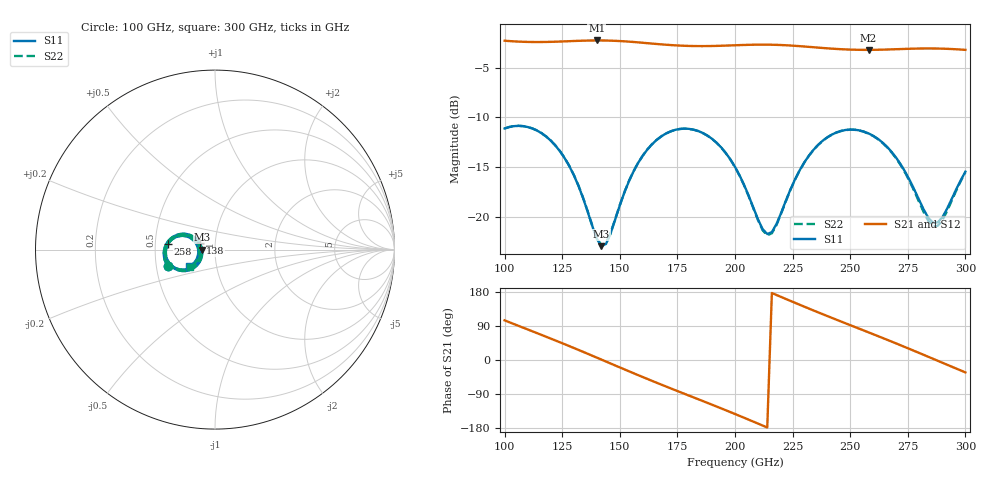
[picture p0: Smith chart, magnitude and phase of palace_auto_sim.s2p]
#  GHZ S DB R 50
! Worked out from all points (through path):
!   101 points, 100 GHz to 300 GHz, reference 50 ohm
!   highest |S21| = -2.29 dB at 140 GHz (marker M1); lowest = -3.2 dB at 258 GHz (marker M2)
!   group delay of S21, straight-line fit = 6.91 ps
!   lowest |S11| = -22.9 dB at 142 GHz (marker M3), VSWR 1.15, Z = 43.3 - j0.107 ohm
!   |S11| at or under -10 dB: start of sweep to end of sweep
!   |S22| runs from -22.8 to -10.8 dB; largest |S21 - S12| = 8.8e-14
!   S11 on the Smith chart (normalised r, x): 100 GHz: 0.58, -0.11; 138 GHz: 0.84, +0.06; 258 GHz: 0.58, +0.04; 300 GHz: 0.74, -0.14
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100  -11.10 -160.9  -2.31 104.6  -2.31 104.6  -11.10 -160.9
116  -11.57 169.2  -2.44 66.2  -2.44 66.2  -11.56 169.3
126  -14.05 153.5  -2.38 41.8  -2.38 41.8  -14.03 153.7
134  -18.03 149.4  -2.31 21.7  -2.31 21.7  -17.99 149.7
138  -20.84 157.5  -2.29 11.5  -2.29 11.5  -20.77 157.8
140  -22.15 167.2  -2.29 6.3  -2.29 6.3  -22.06 167.4
142  -22.88 -179.0  -2.29 1.1  -2.29 1.1  -22.78 -179.0
146  -21.62 -151.9  -2.31 -9.2  -2.31 -9.2  -21.55 -152.3
154  -16.36 -138.6  -2.41 -29.9  -2.41 -29.9  -16.35 -138.9
168  -11.89 -156.4  -2.68 -64.9  -2.68 -64.9  -11.89 -156.6
184  -11.35 175.8  -2.85 -103.5  -2.85 -103.5  -11.36 175.6
200  -14.95 153.5  -2.77 -142.5  -2.77 -142.5  -14.97 153.2
214  -21.67 -177.9  -2.71 -178.1  -2.71 -178.1  -21.80 -177.8
224  -17.25 -142.9  -2.79 156.2  -2.79 156.2  -17.29 -142.5
234  -13.25 -149.2  -2.97 130.9  -2.97 130.9  -13.27 -148.9
246  -11.35 -167.5  -3.16 101.6  -3.16 101.6  -11.36 -167.3
258  -11.60 173.1  -3.23 72.8  -3.23 72.8  -11.62 173.0
268  -13.45 159.3  -3.18 48.5  -3.18 48.5  -13.50 159.1
278  -17.30 156.1  -3.11 23.5  -3.11 23.5  -17.47 155.6
286  -20.54 179.7  -3.09 3.1  -3.09 3.1  -20.89 -179.8
290  -19.99 -161.7  -3.11 -7.2  -3.11 -7.2  -20.29 -160.0
300  -15.42 -147.1  -3.23 -32.7  -3.23 -32.7  -15.49 -145.1
